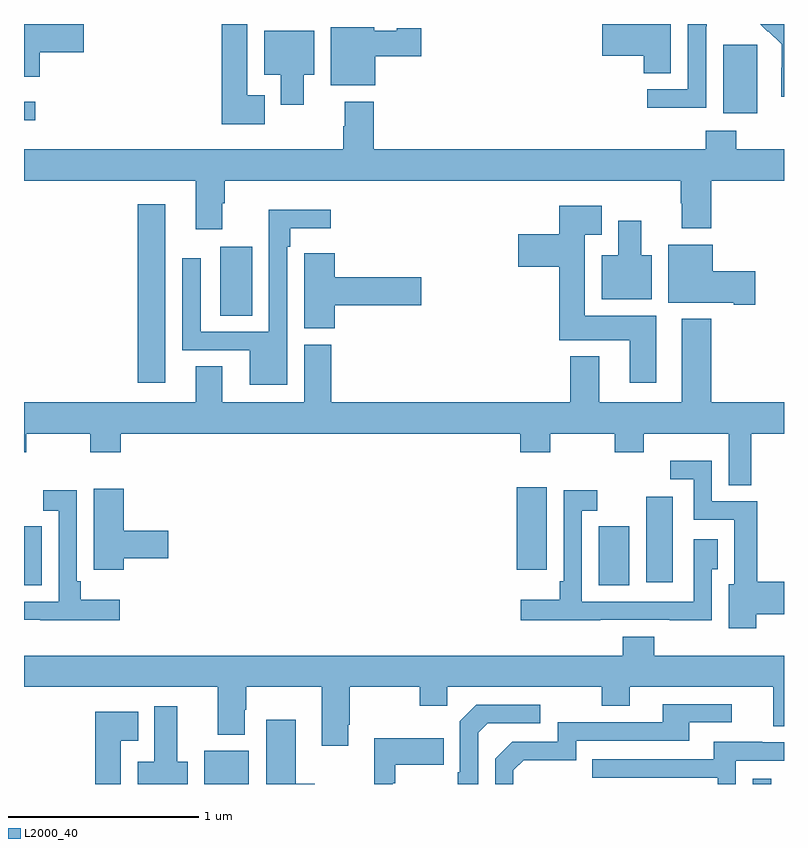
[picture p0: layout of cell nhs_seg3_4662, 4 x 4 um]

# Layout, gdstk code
import gdstk
lib = gdstk.Library(unit=1e-6, precision=1e-09)
def R(c, l, rs):  # rectangles x0, y0, x1, y1
    for r in rs: c.add(gdstk.rectangle(r[:2], r[2:], *l))
def P(c, l, *ps):  # polygons
    for p in ps: c.add(gdstk.Polygon(p, *l))
L2000_40 = (2000, 40)

nhs_seg3_4662 = lib.new_cell('nhs_seg3_4662')
R(nhs_seg3_4662, L2000_40, [(361.949,704.4,362.182,704.575), (364.836,704.4,364.933,704.428), (361,705.445,361.093,705.756), (364.025,705.445,364.186,705.756), (364.274,705.462,364.414,705.913), (363.593,705.528,363.751,705.961), (361.598,706.512,361.744,707.452), (362.033,706.864,362.2,707.227), (361,707.894,361.06,707.992), (364.679,707.93,364.858,708.291)])
P(nhs_seg3_4662, L2000_40, [(365,708.4),(364.874,708.4),(364.914,708.36),(364.917,708.363),(364.988,708.293),(364.988,708.17),(364.986,708.17),(364.986,708.016),(365,708.016)],
  [(364.59,708.388),(364.593,708.388),(364.593,708.4),(364.494,708.4),(364.494,708.057),(364.281,708.057),(364.281,707.959),(364.59,707.959)],
  [(364.405,708.4),(364.044,708.4),(364.044,708.233),(364.262,708.233),(364.262,708.142),(364.405,708.142)],
  [(362.266,708.025),(362.176,708.025),(362.176,708.4),(362.042,708.4),(362.042,707.873),(362.266,707.873)],
  [(361.082,708.251),(361.315,708.251),(361.315,708.398),(361.082,708.398),(361.082,708.4),(361,708.4),(361,708.123),(361.082,708.123)],
  [(362.848,708.23),(363.091,708.23),(363.091,708.377),(362.961,708.377),(362.961,708.364),(362.844,708.364),(362.844,708.382),(362.615,708.382),(362.615,708.077),(362.848,708.077)],
  [(362.473,708.134),(362.527,708.134),(362.527,708.364),(362.264,708.364),(362.264,708.134),(362.351,708.134),(362.351,707.976),(362.473,707.976)],
  [(362.044,707.456),(362.057,707.456),(362.057,707.576),(364.456,707.576),(364.456,707.456),(364.463,707.456),(364.463,707.324),(364.616,707.324),(364.616,707.576),(365,707.576),(365,707.74),(364.749,707.74),(364.749,707.839),(364.589,707.839),(364.589,707.74),(362.84,707.74),(362.84,707.992),(362.687,707.992),(362.687,707.861),(362.68,707.861),(362.68,707.74),(361,707.74),(361,707.576),(361.904,707.576),(361.904,707.319),(362.044,707.319)],
  [(364.327,706.864),(363.952,706.864),(363.952,707.291),(364.042,707.291),(364.042,707.443),(363.818,707.443),(363.818,707.293),(363.6,707.293),(363.6,707.123),(363.818,707.123),(363.818,706.736),(364.187,706.736),(364.187,706.512),(364.327,706.512)],
  [(362.385,707.228),(362.401,707.228),(362.401,707.324),(362.614,707.324),(362.614,707.422),(362.289,707.422),(362.289,706.779),(361.929,706.779),(361.929,707.167),(361.833,707.167),(361.833,706.683),(362.189,706.683),(362.189,706.502),(362.385,706.502)],
  [(364.303,707.182),(364.249,707.182),(364.249,707.365),(364.127,707.365),(364.127,707.182),(364.04,707.182),(364.04,706.952),(364.303,706.952)],
  [(364.849,707.1),(364.624,707.1),(364.624,707.239),(364.391,707.239),(364.391,706.934),(364.736,706.934),(364.736,706.922),(364.849,706.922)],
  [(362.636,706.919),(363.091,706.919),(363.091,707.066),(362.636,707.066),(362.636,707.194),(362.475,707.194),(362.475,707.081),(362.474,707.081),(362.474,706.798),(362.636,706.798)],
  [(364.828,706.244),(365,706.244),(365,706.408),(364.616,706.408),(364.616,706.849),(364.463,706.849),(364.463,706.408),(364.027,706.408),(364.027,706.651),(363.875,706.651),(363.875,706.408),(362.618,706.408),(362.618,706.713),(362.474,706.713),(362.474,706.408),(362.044,706.408),(362.044,706.598),(361.904,706.598),(361.904,706.408),(361,706.408),(361,706.145),(361.011,706.145),(361.011,706.244),(361.348,706.244),(361.348,706.145),(361.508,706.145),(361.508,706.244),(363.611,706.244),(363.611,706.145),(363.771,706.145),(363.771,706.244),(364.108,706.244),(364.108,706.145),(364.263,706.145),(364.263,706.244),(364.709,706.244),(364.709,705.973),(364.828,705.973)],
  [(364.853,705.293),(365,705.293),(365,705.464),(364.858,705.464),(364.858,705.888),(364.62,705.888),(364.62,706.102),(364.401,706.102),(364.401,706.005),(364.524,706.005),(364.524,705.792),(364.739,705.792),(364.739,705.451),(364.709,705.451),(364.709,705.219),(364.853,705.219)],
  [(361.526,705.587),(361.759,705.587),(361.759,705.734),(361.526,705.734),(361.526,705.955),(361.367,705.955),(361.367,705.528),(361.526,705.528)],
  [(361.504,705.37),(361.298,705.37),(361.298,705.466),(361.278,705.466),(361.278,705.946),(361.101,705.946),(361.101,705.837),(361.182,705.837),(361.182,705.36),(361,705.36),(361,705.264),(361.085,705.264),(361.085,705.263),(361.504,705.263)],
  [(364.033,705.264),(364.399,705.264),(364.399,705.263),(364.62,705.263),(364.62,705.529),(364.651,705.529),(364.651,705.688),(364.524,705.688),(364.524,705.36),(363.936,705.36),(363.936,705.837),(364.018,705.837),(364.018,705.946),(363.84,705.946),(363.84,705.466),(363.82,705.466),(363.82,705.37),(363.615,705.37),(363.615,705.263),(364.033,705.263)],
  [(362.707,704.713),(362.715,704.713),(362.715,704.912),(363.082,704.912),(363.082,704.813),(363.228,704.813),(363.228,704.912),(364.042,704.912),(364.042,704.813),(364.189,704.813),(364.189,704.912),(364.943,704.912),(364.943,704.704),(365,704.704),(365,705.076),(364.316,705.076),(364.316,705.175),(364.151,705.175),(364.151,705.076),(361,705.076),(361,704.912),(362.021,704.912),(362.021,704.66),(362.161,704.66),(362.161,704.792),(362.169,704.792),(362.169,704.912),(362.567,704.912),(362.567,704.601),(362.707,704.601)],
  [(363.576,704.472),(363.629,704.525),(363.906,704.525),(363.906,704.628),(364.501,704.628),(364.501,704.724),(364.726,704.724),(364.726,704.82),(364.361,704.82),(364.361,704.724),(363.81,704.724),(363.81,704.622),(363.57,704.622),(363.48,704.532),(363.48,704.4),(363.576,704.4)],
  [(363.39,704.67),(363.441,704.721),(363.718,704.721),(363.718,704.817),(363.381,704.817),(363.294,704.73),(363.294,704.461),(363.282,704.461),(363.282,704.4),(363.39,704.4)],
  [(361.861,704.518),(361.807,704.518),(361.807,704.809),(361.685,704.809),(361.685,704.518),(361.598,704.518),(361.598,704.4),(361.861,704.4)],
  [(361.51,704.627),(361.6,704.627),(361.6,704.779),(361.376,704.779),(361.376,704.4),(361.51,704.4)],
  [(362.531,704.402),(362.431,704.402),(362.431,704.737),(362.276,704.737),(362.276,704.4),(362.531,704.4)],
  [(362.94,704.405),(362.953,704.405),(362.953,704.501),(363.209,704.501),(363.209,704.641),(362.843,704.641),(362.843,704.4),(362.94,704.4)],
  [(364.746,704.523),(365,704.523),(365,704.619),(364.885,704.619),(364.885,704.623),(364.631,704.623),(364.631,704.529),(363.991,704.529),(363.991,704.433),(364.65,704.433),(364.65,704.4),(364.746,704.4)])

lib.write_gds('nhs_seg3_4662.gds')
